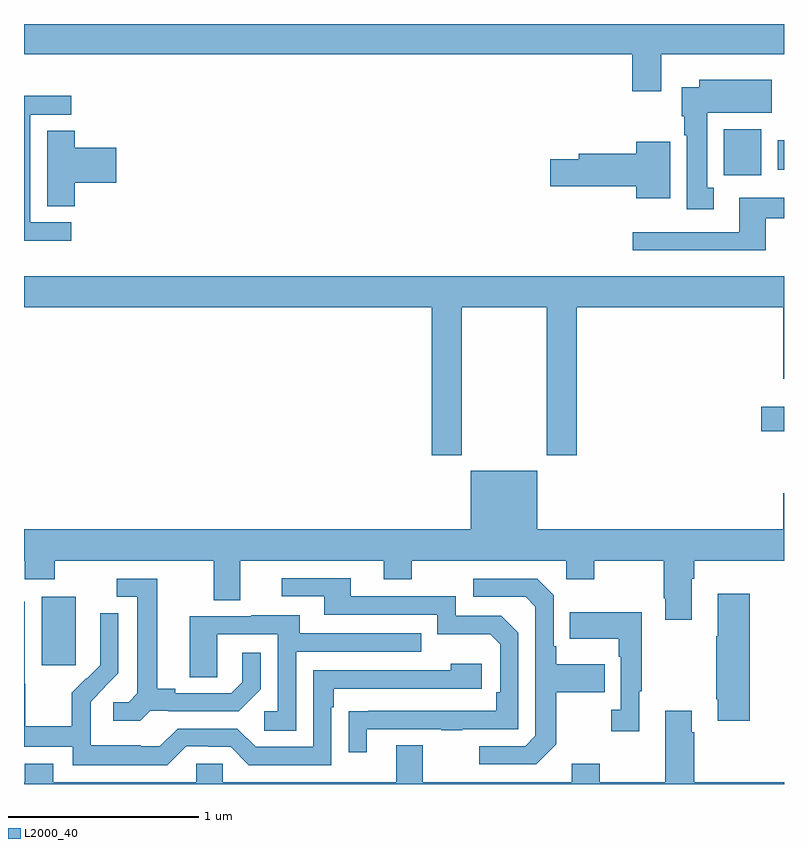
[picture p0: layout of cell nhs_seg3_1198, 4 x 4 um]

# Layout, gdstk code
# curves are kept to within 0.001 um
import gdstk
lib = gdstk.Library(unit=1e-6, precision=1e-09)
def R(c, l, rs):  # rectangles x0, y0, x1, y1
    for r in rs: c.add(gdstk.rectangle(r[:2], r[2:], *l))
def P(c, l, *ps):  # polygons
    for p in ps: c.add(gdstk.Polygon(p, *l))
L2000_40 = (2000, 40)

nhs_seg3_1198 = lib.new_cell('nhs_seg3_1198')
R(nhs_seg3_1198, L2000_40, [(173.093,707.025,173.272,707.386), (176.88,708.256,177,708.385), (176.684,709.604,176.881,709.846), (176.966,709.632,177,709.788)])
P(nhs_seg3_1198, L2000_40, [(176.353,710.24),(177,710.24),(177,710.4),(173,710.4),(173,710.24),(176.201,710.24),(176.201,710.046),(176.353,710.046)],
  [(176.629,709.538),(176.596,709.538),(176.596,709.934),(176.935,709.934),(176.935,710.107),(176.555,710.107),(176.555,710.068),(176.462,710.068),(176.462,709.914),(176.474,709.914),(176.474,709.814),(176.489,709.814),(176.489,709.425),(176.629,709.425)],
  [(173.248,709.356),(173.034,709.356),(173.034,709.923),(173.248,709.923),(173.248,710.022),(173,710.022),(173,709.26),(173.248,709.26)],
  [(173.267,709.565),(173.485,709.565),(173.485,709.748),(173.267,709.748),(173.267,709.838),(173.123,709.838),(173.123,709.441),(173.267,709.441)],
  [(176.401,709.78),(176.222,709.78),(176.222,709.718),(175.919,709.718),(175.919,709.688),(175.77,709.688),(175.77,709.546),(176.222,709.546),(176.222,709.484),(176.401,709.484)],
  [(176.905,709.377),(177,709.377),(177,709.486),(176.765,709.486),(176.765,709.305),(176.205,709.305),(176.205,709.208),(176.905,709.208)],
  [(175.305,708.908),(175.75,708.908),(175.75,708.129),(175.91,708.129),(175.91,708.908),(176.996,708.908),(176.996,708.534),(177,708.534),(177,709.072),(173,709.072),(173,708.908),(175.145,708.908),(175.145,708.129),(175.305,708.129)],
  [(176.515,707.48),(176.528,707.48),(176.528,707.576),(177,707.576),(177,707.929),(176.996,707.929),(176.996,707.74),(175.702,707.74),(175.702,708.049),(175.352,708.049),(175.352,707.74),(173,707.74),(173,707.576),(173.003,707.576),(173.003,707.477),(173.163,707.477),(173.163,707.576),(173.999,707.576),(173.999,707.368),(174.139,707.368),(174.139,707.576),(174.893,707.576),(174.893,707.477),(175.041,707.477),(175.041,707.576),(175.854,707.576),(175.854,707.477),(176.001,707.477),(176.001,707.576),(176.368,707.576),(176.368,707.377),(176.375,707.377),(176.375,707.265),(176.515,707.265)],
  [(174.805,706.689),(175.195,706.689),(175.195,706.684),(175.307,706.684),(175.307,706.689),(175.602,706.689),(175.602,707.196),(175.512,707.286),(175.272,707.286),(175.272,707.388),(174.721,707.388),(174.721,707.484),(174.357,707.484),(174.357,707.388),(174.581,707.388),(174.581,707.292),(175.176,707.292),(175.176,707.189),(175.453,707.189),(175.506,707.136),(175.506,706.882),(175.486,706.882),(175.486,706.785),(174.709,706.784),(174.709,706.566),(174.805,706.566)],
  [(175.801,706.609),(175.801,706.882),(176.057,706.882),(176.057,707.029),(175.801,707.029),(175.801,707.125),(175.788,707.125),(175.788,707.394),(175.701,707.481),(175.365,707.481),(175.365,707.385),(175.641,707.385),(175.692,707.334),(175.692,706.653),(175.638,706.599),(175.395,706.599),(175.395,706.503),(175.695,706.503)],
  [(173.664,706.785),(173.758,706.785),(173.758,706.782),(174.13,706.782),(174.246,706.898),(174.246,707.092),(174.149,707.092),(174.149,706.935),(174.092,706.878),(173.797,706.878),(173.797,706.901),(173.701,706.901),(173.701,707.481),(173.487,707.481),(173.487,707.385),(173.597,707.385),(173.597,706.877),(173.55,706.83),(173.469,706.83),(173.469,706.733),(173.612,706.733)],
  [(176.819,707.401),(176.651,707.401),(176.651,707.177),(176.644,707.177),(176.644,706.846),(176.651,706.846),(176.651,706.734),(176.819,706.734)],
  [(173.853,706.599),(173.969,706.599),(173.969,706.596),(174.087,706.596),(174.183,706.5),(174.618,706.5),(174.618,706.805),(174.631,706.805),(174.631,706.902),(175.408,706.902),(175.408,707.032),(175.247,707.032),(175.247,706.998),(174.522,706.998),(174.522,706.596),(174.219,706.596),(174.123,706.692),(173.808,706.692),(173.715,706.599),(173.615,706.599),(173.615,706.603),(173.352,706.603),(173.352,706.737),(173.35,706.737),(173.35,706.834),(173.496,706.982),(173.496,707.3),(173.4,707.3),(173.4,707.146),(173.402,707.146),(173.402,707.024),(173.331,706.953),(173.328,706.956),(173.251,706.879),(173.251,706.705),(173.007,706.705),(173.007,706.928),(173.004,706.928),(173.004,707.358),(173,707.358),(173,706.596),(173.256,706.596),(173.256,706.499),(173.753,706.499)],
  [(176.239,706.889),(176.251,706.889),(176.251,707.305),(175.873,707.305),(175.873,707.165),(176.13,707.165),(176.13,707.069),(176.142,707.069),(176.142,706.79),(176.091,706.79),(176.091,706.677),(176.239,706.677)],
  [(174.432,707.097),(175.091,707.097),(175.091,707.193),(174.451,707.193),(174.451,707.287),(174.197,707.287),(174.197,707.283),(173.873,707.283),(173.873,706.963),(174.018,706.963),(174.018,707.187),(174.336,707.187),(174.336,706.782),(174.264,706.782),(174.264,706.681),(174.432,706.681)],
  [(177,706.408),(176.528,706.408),(176.528,706.673),(176.515,706.673),(176.515,706.786),(176.375,706.786),(176.375,706.408),(176.031,706.408),(176.031,706.507),(175.883,706.507),(175.883,706.408),(175.099,706.408),(175.099,706.603),(174.959,706.603),(174.959,706.408),(174.045,706.408),(174.045,706.506),(173.907,706.506),(173.907,706.408),(173.155,706.408),(173.155,706.507),(173.003,706.507),(173.003,706.408),(173,706.408),(173,706.4),(177,706.4)])

lib.write_gds('nhs_seg3_1198.gds')
